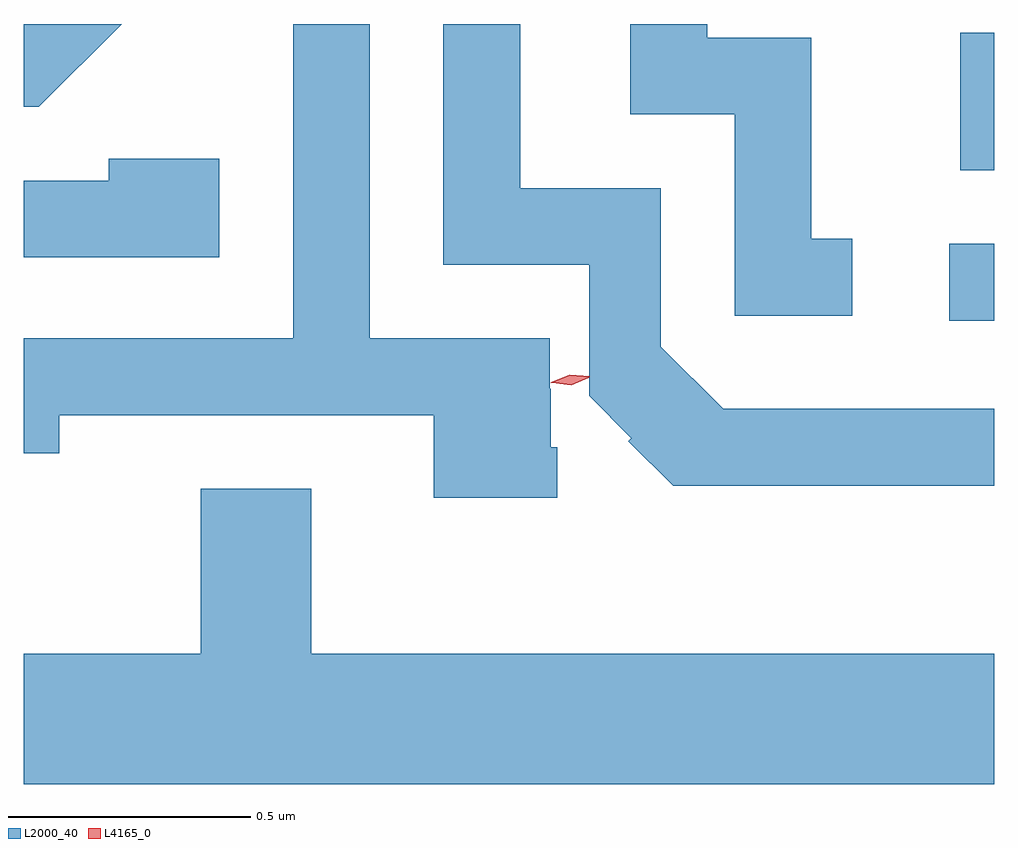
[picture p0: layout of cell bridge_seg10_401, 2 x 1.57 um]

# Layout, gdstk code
import gdstk
lib = gdstk.Library(unit=1e-6, precision=1e-09)
def R(c, l, rs):  # rectangles x0, y0, x1, y1
    for r in rs: c.add(gdstk.rectangle(r[:2], r[2:], *l))
def P(c, l, *ps):  # polygons
    for p in ps: c.add(gdstk.Polygon(p, *l))
L2000_40 = (2000, 40)
L4165_0 = (4165, 0)

bridge_seg10_401 = lib.new_cell('bridge_seg10_401')
R(bridge_seg10_401, L2000_40, [(1130.253,2110.431,1130.346,2110.589), (1130.276,2110.741,1130.346,2111.024)])
P(bridge_seg10_401, L2000_40, [(1130.346,2110.249),(1129.787,2110.249),(1129.659,2110.377),(1129.659,2110.704),(1129.369,2110.704),(1129.369,2111.042),(1129.211,2111.042),(1129.211,2110.546),(1129.511,2110.546),(1129.511,2110.276),(1129.598,2110.188),(1129.592,2110.182),(1129.684,2110.091),(1130.346,2110.091)],
  [(1128.548,2111.042),(1128.346,2111.042),(1128.346,2110.871),(1128.377,2110.871)],
  [(1129.445,2110.17),(1129.432,2110.17),(1129.432,2110.29),(1129.43,2110.29),(1129.43,2110.394),(1129.059,2110.394),(1129.059,2111.042),(1128.901,2111.042),(1128.901,2110.394),(1128.346,2110.394),(1128.346,2110.158),(1128.419,2110.158),(1128.419,2110.236),(1129.191,2110.236),(1129.191,2110.066),(1129.445,2110.066)],
  [(1130.053,2110.599),(1129.969,2110.599),(1129.969,2111.014),(1129.754,2111.014),(1129.754,2111.042),(1129.596,2111.042),(1129.596,2110.856),(1129.811,2110.856),(1129.811,2110.441),(1130.053,2110.441)],
  [(1128.749,2110.764),(1128.521,2110.764),(1128.521,2110.719),(1128.346,2110.719),(1128.346,2110.561),(1128.749,2110.561)],
  [(1130.346,2109.744),(1128.939,2109.744),(1128.939,2110.084),(1128.711,2110.084),(1128.711,2109.744),(1128.346,2109.744),(1128.346,2109.476),(1130.346,2109.476)])
P(bridge_seg10_401, L4165_0, [(1129.474,2110.3),(1129.433,2110.303),(1129.432,2110.303),(1129.433,2110.304),(1129.471,2110.319),(1129.512,2110.316),(1129.512,2110.316),(1129.512,2110.315)],
  [(1129.474,2110.298),(1129.435,2110.303),(1129.435,2110.303),(1129.435,2110.304),(1129.471,2110.318),(1129.51,2110.314),(1129.51,2110.314),(1129.51,2110.313)])

lib.write_gds('bridge_seg10_401.gds')
